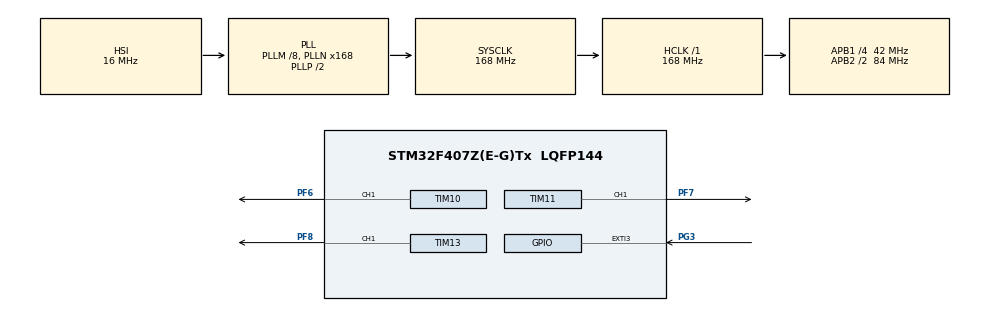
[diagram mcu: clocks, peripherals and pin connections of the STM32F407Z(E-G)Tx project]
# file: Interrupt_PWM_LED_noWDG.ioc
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Mcu.Family=STM32F4
Mcu.Name=STM32F407Z(E-G)Tx
Mcu.Package=LQFP144
NVIC.EXTI3_IRQn=true\:1\:0\:true\:false\:true\:true\:true\:true
NVIC.PriorityGroup=NVIC_PRIORITYGROUP_4
NVIC.TIM6_DAC_IRQn=true\:3\:0\:true\:false\:true\:true\:true\:true
PA13.Mode=Trace_Asynchronous_SW
PA13.Signal=SYS_JTMS-SWDIO
PA14.Mode=Trace_Asynchronous_SW
PA14.Signal=SYS_JTCK-SWCLK
PA5.Signal=S_TIM2_CH1_ETR
PB3.Mode=Trace_Asynchronous_SW
PB3.Signal=SYS_JTDO-SWO
PF6.Signal=S_TIM10_CH1
PF7.Signal=S_TIM11_CH1
PF8.Signal=S_TIM13_CH1
PG3.GPIO_ModeDefaultEXTI=GPIO_MODE_IT_RISING_FALLING
PG3.Signal=GPXTI3
ProjectManager.HeapSize=0x200
ProjectManager.StackSize=0x400
ProjectManager.TargetToolchain=MDK-ARM V5.32
RCC.48MHZClocksFreq_Value=84000000
RCC.AHBFreq_Value=168000000
RCC.APB1CLKDivider=RCC_HCLK_DIV4
RCC.APB1Freq_Value=42000000
RCC.APB1TimFreq_Value=84000000
RCC.APB2CLKDivider=RCC_HCLK_DIV2
RCC.APB2Freq_Value=84000000
RCC.APB2TimFreq_Value=168000000
RCC.CortexFreq_Value=168000000
RCC.HCLKFreq_Value=168000000
RCC.HSE_VALUE=25000000
RCC.HSI_VALUE=16000000
RCC.LSE_VALUE=32768
RCC.PLLM=8
RCC.PLLN=168
RCC.SYSCLKFreq_VALUE=168000000
RCC.SYSCLKSource=RCC_SYSCLKSOURCE_PLLCLK
RCC.VCOOutputFreq_Value=336000000
SH.S_TIM10_CH1.0=TIM10_CH1,PWM Generation1 CH1
SH.S_TIM11_CH1.0=TIM11_CH1,PWM Generation1 CH1
SH.S_TIM13_CH1.0=TIM13_CH1,PWM Generation1 CH1
SH.S_TIM2_CH1_ETR.0=TIM2_CH1
TIM10.Channel=TIM_CHANNEL_1
TIM10.Period=999
TIM10.Prescaler=167
TIM11.Channel=TIM_CHANNEL_1
TIM11.Period=999
TIM11.Prescaler=167
TIM13.Channel=TIM_CHANNEL_1
TIM13.Period=999
TIM13.Prescaler=83
TIM6.Period=9999
TIM6.Prescaler=8399
VP_TIM10_VS_ClockSourceINT.Mode=Enable_Timer
VP_TIM11_VS_ClockSourceINT.Mode=Enable_Timer
VP_TIM13_VS_ClockSourceINT.Mode=Enable_Timer
VP_TIM6_VS_ClockSourceINT.Mode=Enable_Timer
board=custom

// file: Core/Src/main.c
/* USER CODE BEGIN Header */
/**
  ******************************************************************************
  * @file           : main.c
  * @brief          : Main program body
  ******************************************************************************
  * @attention
  *
  * Copyright (c) 2026 STMicroelectronics.
  * All rights reserved.
  *
  * This software is licensed under terms that can be found in the LICENSE file
  * in the root directory of this software component.
  * If no LICENSE file comes with this software, it is provided AS-IS.
  *
  ******************************************************************************
  */
/* USER CODE END Header */
#include "main.h"

/* USER CODE BEGIN Includes */
#include <stdbool.h>
/* USER CODE END Includes */

/* USER CODE BEGIN PD */

/*
 * ========================= 颜色占空比表 =========================
 * 每行 = { R%, G%, B% }，百分比指该通道在最亮时的占空比。
 * 例如：黄色 = 红50% + 绿50%，白色 = 三通道各33%。
 *
 * LED 低电平点亮（低有效），PWM Mode1 + 极性HIGH 意味着：
 *   CNT < CCR → 引脚 HIGH → LED 灭
 *   CNT ≥ CCR → 引脚 LOW  → LED 亮
 * 所以 CCR = 0 → LED 全亮，CCR = 1000 → LED 全灭。
 * 亮度值 b (0~1000) 对应 CCR = 1000 - b。
 */
typedef struct {
    uint16_t r;    /* 红色通道亮度百分比 0-100 */
    uint16_t g;    /* 绿色通道亮度百分比 0-100 */
    uint16_t b;    /* 蓝色通道亮度百分比 0-100 */
} Color_t;

static const Color_t COLOR_TABLE[COLOR_COUNT] = {
    {100,   0,   0},   /* 红色 */
    { 50,  50,   0},   /* 黄色 */
    {  0, 100,   0},   /* 绿色 */
    {  0,  50,  50},   /* 青色 */
    {  0,   0, 100},   /* 蓝色 */
    { 50,   0,  50},   /* 品红 */
    { 33,  33,  33},   /* 白色 */
};

/* USER CODE END PD */

IWDG_HandleTypeDef hiwdg;
TIM_HandleTypeDef htim6;
TIM_HandleTypeDef htim10;
TIM_HandleTypeDef htim11;
TIM_HandleTypeDef htim13;

/* USER CODE BEGIN PV */
static volatile uint16_t dbg_ccr_r=0;

static volatile uint16_t dbg_ccr_g=0;

static volatile uint16_t dbg_ccr_b=0;
/* ===== 运行模式 ===== */
typedef enum {
    MODE_BREATHING = 0,   /* 模式1：七色呼吸灯 */
    MODE_SOLID     = 1,   /* 模式2：七色纯色循环 */
    MODE_RESET     = 2,   /* 复位模式：红灯快闪 */
} RunMode_t;

static volatile RunMode_t g_currentMode  = MODE_BREATHING;
static volatile bool      g_inResetMode  = false;   /* 是否处于复位模式 */

/* ===== TIM6 空闲计时（每秒 +1，达到阈值进入 Stop） ===== */
static volatile uint32_t  g_idleSeconds  = 0;
static volatile bool      g_enterStop    = false;   /* Stop 请求标志 */

/* ===== SW5 物理按键状态 ===== */
static volatile uint32_t  g_sw5PressTime   = 0;     /* 按下时刻 (tick) */
static volatile uint32_t  g_sw5ReleaseTime = 0;     /* 松开时刻 (tick) */
static volatile bool      g_sw5Pressed     = false; /* 当前是否处于按下 */

/* ===== 颜色 / 呼吸状态 ===== */
static uint8_t   g_colorIndex     = 0;               /* 当前颜色索引 0~6 */
static uint32_t  g_lastColorTick  = 0;               /* 上次颜色切换 tick */

/* ===== 电容按键 ===== */
static uint32_t  g_lastCapTouchTick = 0;             /* 上次触发 tick（消抖）*/

/* USER CODE END PV */

void SystemClock_Config(void);
static void MX_GPIO_Init(void);
static void MX_IWDG_Init(void);
static void MX_TIM6_Init(void);
static void MX_TIM10_Init(void);
static void MX_TIM11_Init(void);
static void MX_TIM13_Init(void);
/* USER CODE BEGIN PFP */

/* LED 控制 */
static void LED_SetRGB(uint16_t r, uint16_t g, uint16_t b);
static void LED_Off(void);
static void LED_UpdateBreathing(void);
static void LED_UpdateSolid(void);
static void LED_UpdateReset(void);

/* 电容按键 */
static bool CapTouch_Detect(void);

/* 电源管理 */
static void EnterStopMode(void);

/* 工具 */
static void ResetIdleCounter(void);

/* USER CODE END PFP */

int main(void)
{

  /* MCU Configuration--------------------------------------------------------*/

  /* Reset of all peripherals, Initializes the Flash interface and the Systick. */
  HAL_Init();

  /* Configure the system clock */
  SystemClock_Config();

  /* Initialize all configured peripherals */
  MX_GPIO_Init();
  MX_TIM6_Init();
  MX_TIM10_Init();
  MX_TIM11_Init();
  MX_TIM13_Init();
  MX_IWDG_Init();
  /* USER CODE BEGIN 2 */

  /* ---------- 检测 IWDG 复位标志 ----------
   * 若上次是 IWDG 超时导致的系统复位（Stop 模式下 LSI 不停，
   * IWDG 计数到 0 触发复位），则标记直接回到 Stop，避免 LED 闪烁。 */
  bool iwdg_wakeup = __HAL_RCC_GET_FLAG(RCC_FLAG_IWDGRST);
  __HAL_RCC_CLEAR_RESET_FLAGS();

  /* ---------- 启动三路 PWM 输出 ----------
   * 初始 CCR = 0（CubeMX 默认 Pulse = 0），对应引脚持续 LOW → LED 全亮。
   * 我们先调用 LED_Off() 把 CCR 设为 1000，让 LED 初始为灭。 */
  HAL_TIM_PWM_Start(&htim10, TIM_CHANNEL_1);   /* PF6 红 */
  HAL_TIM_PWM_Start(&htim11, TIM_CHANNEL_1);   /* PF7 绿 */
  HAL_TIM_PWM_Start(&htim13, TIM_CHANNEL_1);   /* PF8 蓝 */
  LED_Off();

  /* ---------- 启动 TIM6 中断（1s 周期）---------- */
  HAL_TIM_Base_Start_IT(&htim6);

  /* ---------- 使能 EXTI3 事件线 (EMR) ----------
   * CubeMX 只配置了 IMR（中断线），这里手动补上 EMR，
   * 让 SW5 在 Stop 模式下也可通过事件唤醒 CPU (WFE)。 */
  EXTI->EMR |= EXTI_EMR_MR3;

  /* 记录起始 tick，用于呼吸 / 纯色的时间基准 */
  g_lastColorTick = HAL_GetTick();

  /* IWDG 复位唤醒 → 直接回 Stop，用户无感知 */
  if (iwdg_wakeup)
  {
    g_enterStop = true;
  }

  /* USER CODE END 2 */

  /* Infinite loop */
  while (1)
  {

    /* USER CODE BEGIN 3 */

    /* ========== 1. 检查 Stop 模式请求 ========== */
    if (g_enterStop)
    {
      EnterStopMode();
      continue;   /* 唤醒后从循环头重新开始 */
    }

    /* ========== 2. SW5 长按检测 ==========
     * ISR 只记录时间戳，这里在主循环里判断按压持续时间。
     * 松开后 (g_sw5Pressed == false) 且 ReleaseTime > PressTime → 有效释放。 */
    if (!g_sw5Pressed && g_sw5ReleaseTime > g_sw5PressTime)
    {
      uint32_t duration = g_sw5ReleaseTime - g_sw5PressTime;
      g_sw5ReleaseTime = 0;   /* 消费掉这次事件，防止重复处理 */

      if (duration >= LONG_PRESS_MS)
      {
        /* 长按 >= 5s → 切换复位模式 / 普通模式 */
        g_inResetMode = !g_inResetMode;
        if (g_inResetMode)
        {
          g_currentMode = MODE_RESET;
        }
        else
        {
          g_currentMode = MODE_BREATHING;
          g_colorIndex  = 0;
          g_lastColorTick = HAL_GetTick();
        }
      }
    }

    /* ========== 3. 电容按键检测 → 切换呼吸 / 纯色 ==========
     * 只在普通模式下响应（复位模式忽略触摸） */
    if (!g_inResetMode)
    {
      if (CapTouch_Detect())
      {
        uint32_t now = HAL_GetTick();
        if (now - g_lastCapTouchTick >= CAP_TOUCH_DEBOUNCE)
        {
          g_lastCapTouchTick = now;
          ResetIdleCounter();

          /* 呼吸 ↔ 纯色 互相切换 */
          if (g_currentMode == MODE_BREATHING)
            g_currentMode = MODE_SOLID;
          else
            g_currentMode = MODE_BREATHING;

          g_colorIndex    = 0;
          g_lastColorTick = HAL_GetTick();
        }
      }
    }

    /* ========== 4. 根据当前模式刷新 LED ========== */
    switch (g_currentMode)
    {
      case MODE_BREATHING:
        LED_UpdateBreathing();
        break;
      case MODE_SOLID:
        LED_UpdateSolid();
        break;
      case MODE_RESET:
        LED_UpdateReset();
        break;
    }
    dbg_ccr_r = TIM10->CCR1;//给Debugger用的 观察LED的PWM
    dbg_ccr_g = TIM11->CCR1;
    dbg_ccr_b = TIM13->CCR1;

    /* ========== 5. 喂狗 ========== */
    HAL_IWDG_Refresh(&hiwdg);
  }
  /* USER CODE END 3 */
}

void SystemClock_Config(void)
{
  RCC_OscInitTypeDef RCC_OscInitStruct = {0};
  RCC_ClkInitTypeDef RCC_ClkInitStruct = {0};

  /** Configure the main internal regulator output voltage
  */
  __HAL_RCC_PWR_CLK_ENABLE();
  __HAL_PWR_VOLTAGESCALING_CONFIG(PWR_REGULATOR_VOLTAGE_SCALE1);

  /** Initializes the RCC Oscillators according to the specified parameters
  * in the RCC_OscInitTypeDef structure.
  */
  RCC_OscInitStruct.OscillatorType = RCC_OSCILLATORTYPE_HSI|RCC_OSCILLATORTYPE_LSI;
  RCC_OscInitStruct.HSIState = RCC_HSI_ON;
  RCC_OscInitStruct.HSICalibrationValue = RCC_HSICALIBRATION_DEFAULT;
  RCC_OscInitStruct.LSIState = RCC_LSI_ON;
  RCC_OscInitStruct.PLL.PLLState = RCC_PLL_ON;
  RCC_OscInitStruct.PLL.PLLSource = RCC_PLLSOURCE_HSI;
  RCC_OscInitStruct.PLL.PLLM = 8;
  RCC_OscInitStruct.PLL.PLLN = 168;
  RCC_OscInitStruct.PLL.PLLP = RCC_PLLP_DIV2;
  RCC_OscInitStruct.PLL.PLLQ = 4;
  if (HAL_RCC_OscConfig(&RCC_OscInitStruct) != HAL_OK)
  {
    Error_Handler();
  }

  /** Initializes the CPU, AHB and APB buses clocks
  */
  RCC_ClkInitStruct.ClockType = RCC_CLOCKTYPE_HCLK|RCC_CLOCKTYPE_SYSCLK
                              |RCC_CLOCKTYPE_PCLK1|RCC_CLOCKTYPE_PCLK2;
  RCC_ClkInitStruct.SYSCLKSource = RCC_SYSCLKSOURCE_PLLCLK;
  RCC_ClkInitStruct.AHBCLKDivider = RCC_SYSCLK_DIV1;
  RCC_ClkInitStruct.APB1CLKDivider = RCC_HCLK_DIV4;
  RCC_ClkInitStruct.APB2CLKDivider = RCC_HCLK_DIV2;

  if (HAL_RCC_ClockConfig(&RCC_ClkInitStruct, FLASH_LATENCY_5) != HAL_OK)
  {
    Error_Handler();
  }
}

static void MX_IWDG_Init(void)
{
  hiwdg.Instance = IWDG;
  hiwdg.Init.Prescaler = IWDG_PRESCALER_DIV;   /* 64 分频 */
  hiwdg.Init.Reload = IWDG_RELOAD_VALUE;       /* 4095    */
  if (HAL_IWDG_Init(&hiwdg) != HAL_OK)
  {
    Error_Handler();
  }
}

static void MX_TIM6_Init(void)
{

  TIM_MasterConfigTypeDef sMasterConfig = {0};

  htim6.Instance = TIM6;
  htim6.Init.Prescaler = 8399;
  htim6.Init.CounterMode = TIM_COUNTERMODE_UP;
  htim6.Init.Period = 9999;
  htim6.Init.AutoReloadPreload = TIM_AUTORELOAD_PRELOAD_DISABLE;
  if (HAL_TIM_Base_Init(&htim6) != HAL_OK)
  {
    Error_Handler();
  }
  sMasterConfig.MasterOutputTrigger = TIM_TRGO_RESET;
  sMasterConfig.MasterSlaveMode = TIM_MASTERSLAVEMODE_DISABLE;
  if (HAL_TIMEx_MasterConfigSynchronization(&htim6, &sMasterConfig) != HAL_OK)
  {
    Error_Handler();
  }

}

static void MX_TIM10_Init(void)
{

  TIM_OC_InitTypeDef sConfigOC = {0};

  htim10.Instance = TIM10;
  htim10.Init.Prescaler = 167;
  htim10.Init.CounterMode = TIM_COUNTERMODE_UP;
  htim10.Init.Period = 999;
  htim10.Init.ClockDivision = TIM_CLOCKDIVISION_DIV1;
  htim10.Init.AutoReloadPreload = TIM_AUTORELOAD_PRELOAD_DISABLE;
  if (HAL_TIM_Base_Init(&htim10) != HAL_OK)
  {
    Error_Handler();
  }
  if (HAL_TIM_PWM_Init(&htim10) != HAL_OK)
  {
    Error_Handler();
  }
  sConfigOC.OCMode = TIM_OCMODE_PWM1;
  sConfigOC.Pulse = 0;
  sConfigOC.OCPolarity = TIM_OCPOLARITY_HIGH;
  sConfigOC.OCFastMode = TIM_OCFAST_DISABLE;
  if (HAL_TIM_PWM_ConfigChannel(&htim10, &sConfigOC, TIM_CHANNEL_1) != HAL_OK)
  {
    Error_Handler();
  }
  HAL_TIM_MspPostInit(&htim10);

}

static void MX_TIM11_Init(void)
{

  TIM_OC_InitTypeDef sConfigOC = {0};

  htim11.Instance = TIM11;
  htim11.Init.Prescaler = 167;
  htim11.Init.CounterMode = TIM_COUNTERMODE_UP;
  htim11.Init.Period = 999;
  htim11.Init.ClockDivision = TIM_CLOCKDIVISION_DIV1;
  htim11.Init.AutoReloadPreload = TIM_AUTORELOAD_PRELOAD_DISABLE;
  if (HAL_TIM_Base_Init(&htim11) != HAL_OK)
  {
    Error_Handler();
  }
  if (HAL_TIM_PWM_Init(&htim11) != HAL_OK)
  {
    Error_Handler();
  }
  sConfigOC.OCMode = TIM_OCMODE_PWM1;
  sConfigOC.Pulse = 0;
  sConfigOC.OCPolarity = TIM_OCPOLARITY_HIGH;
  sConfigOC.OCFastMode = TIM_OCFAST_DISABLE;
  if (HAL_TIM_PWM_ConfigChannel(&htim11, &sConfigOC, TIM_CHANNEL_1) != HAL_OK)
  {
    Error_Handler();
  }
  HAL_TIM_MspPostInit(&htim11);

}

static void MX_TIM13_Init(void)
{

  TIM_OC_InitTypeDef sConfigOC = {0};

  htim13.Instance = TIM13;
  htim13.Init.Prescaler = 83;
  htim13.Init.CounterMode = TIM_COUNTERMODE_UP;
  htim13.Init.Period = 999;
  htim13.Init.ClockDivision = TIM_CLOCKDIVISION_DIV1;
  htim13.Init.AutoReloadPreload = TIM_AUTORELOAD_PRELOAD_DISABLE;
  if (HAL_TIM_Base_Init(&htim13) != HAL_OK)
  {
    Error_Handler();
  }
  if (HAL_TIM_PWM_Init(&htim13) != HAL_OK)
  {
    Error_Handler();
  }
  sConfigOC.OCMode = TIM_OCMODE_PWM1;
  sConfigOC.Pulse = 0;
  sConfigOC.OCPolarity = TIM_OCPOLARITY_HIGH;
  sConfigOC.OCFastMode = TIM_OCFAST_DISABLE;
  if (HAL_TIM_PWM_ConfigChannel(&htim13, &sConfigOC, TIM_CHANNEL_1) != HAL_OK)
  {
    Error_Handler();
  }
  HAL_TIM_MspPostInit(&htim13);

}

static void MX_GPIO_Init(void)
{
  GPIO_InitTypeDef GPIO_InitStruct = {0};

  /* GPIO Ports Clock Enable */
  __HAL_RCC_GPIOF_CLK_ENABLE();
  __HAL_RCC_GPIOA_CLK_ENABLE();
  __HAL_RCC_GPIOG_CLK_ENABLE();
  __HAL_RCC_GPIOB_CLK_ENABLE();

  /*Configure GPIO pin : PA5 */
  GPIO_InitStruct.Pin = GPIO_PIN_5;
  GPIO_InitStruct.Mode = GPIO_MODE_AF_PP;
  GPIO_InitStruct.Pull = GPIO_NOPULL;
  GPIO_InitStruct.Speed = GPIO_SPEED_FREQ_LOW;
  GPIO_InitStruct.Alternate = GPIO_AF1_TIM2;
  HAL_GPIO_Init(GPIOA, &GPIO_InitStruct);

  /*Configure GPIO pin : PG3 */
  GPIO_InitStruct.Pin = GPIO_PIN_3;
  GPIO_InitStruct.Mode = GPIO_MODE_IT_RISING_FALLING;
  GPIO_InitStruct.Pull = GPIO_NOPULL;
  HAL_GPIO_Init(GPIOG, &GPIO_InitStruct);

  /* EXTI interrupt init*/
  HAL_NVIC_SetPriority(EXTI3_IRQn, 1, 0);
  HAL_NVIC_EnableIRQ(EXTI3_IRQn);

}

/* USER CODE BEGIN 4 */

/* =====================================================================
 *  LED 控制函数
 * =====================================================================
 * 硬件约束（低有效 + PWM Mode1 + 极性HIGH）：
 *   CCR = 0    → 引脚始终 LOW  → LED 全亮 (100%)
 *   CCR = 1000 → 引脚始终 HIGH → LED 全灭 (0%)
 *   亮度 b (0~1000) 对应 CCR = PWM_RESOLUTION - b
 * ===================================================================== */

/**
 * @brief  设置 RGB 三通道亮度
 * @param  r  红色亮度 0~1000 (0=灭, 1000=最亮)
 * @param  g  绿色亮度 0~1000
 * @param  b  蓝色亮度 0~1000
 */
static void LED_SetRGB(uint16_t r, uint16_t g, uint16_t b)
{
  __HAL_TIM_SET_COMPARE(&htim10, TIM_CHANNEL_1, PWM_RESOLUTION - r); /* PF6 红 */
  __HAL_TIM_SET_COMPARE(&htim11, TIM_CHANNEL_1, PWM_RESOLUTION - g); /* PF7 绿 */
  __HAL_TIM_SET_COMPARE(&htim13, TIM_CHANNEL_1, PWM_RESOLUTION - b); /* PF8 蓝 */
}

/** @brief 关闭所有 LED */
static void LED_Off(void)
{
  LED_SetRGB(0, 0, 0);
}

/**
 * @brief  模式1 -- 七色呼吸灯
 *
 * 每个颜色的呼吸周期 = BREATH_PERIOD_MS (2000ms)：
 *   前半段 0~999ms  ：亮度从 0 线性递增到 1000（渐亮）
 *   后半段 1000~1999ms：亮度从 1000 线性递减到 0（渐灭）
 *
 * 用 HAL_GetTick() 计算经过时间，得到亮度系数 (0~1000)，
 * 再乘以颜色表中该通道的百分比，得到最终 PWM 值。
 */
static void LED_UpdateBreathing(void)
{
  uint32_t now     = HAL_GetTick();
  uint32_t elapsed = now - g_lastColorTick;

  /* 一个颜色的呼吸周期结束 → 切换下一色 */
  if (elapsed >= BREATH_PERIOD_MS)
  {
    g_colorIndex    = (g_colorIndex + 1) % COLOR_COUNT;
    g_lastColorTick = now;
    elapsed = 0;
  }

  /* 计算亮度系数 brightness ∈ [0, 1000]
   *   前半周期：线性 0 → 1000
   *   后半周期：线性 1000 → 0 */
  uint32_t half = BREATH_PERIOD_MS / 2;
  uint16_t brightness;
  if (elapsed < half)
    brightness = (uint16_t)(elapsed * PWM_RESOLUTION / half);
  else
    brightness = (uint16_t)((BREATH_PERIOD_MS - elapsed) * PWM_RESOLUTION / half);

  /* 颜色百分比 × 亮度系数 → 通道值 0~1000 */
  const Color_t *c = &COLOR_TABLE[g_colorIndex];
  uint16_t r = (uint16_t)((uint32_t)c->r * brightness / 100);
  uint16_t g = (uint16_t)((uint32_t)c->g * brightness / 100);
  uint16_t b = (uint16_t)((uint32_t)c->b * brightness / 100);

  LED_SetRGB(r, g, b);
}

/**
 * @brief  模式2 -- 七色纯色循环
 *
 * 七种颜色以最大亮度显示，每 SOLID_PERIOD_MS 切换下一色。
 */
static void LED_UpdateSolid(void)
{
  uint32_t now = HAL_GetTick();
  if (now - g_lastColorTick >= SOLID_PERIOD_MS)
  {
    g_colorIndex    = (g_colorIndex + 1) % COLOR_COUNT;
    g_lastColorTick = now;
  }

  const Color_t *c = &COLOR_TABLE[g_colorIndex];
  uint16_t r = (uint16_t)((uint32_t)c->r * PWM_RESOLUTION / 100);
  uint16_t g = (uint16_t)((uint32_t)c->g * PWM_RESOLUTION / 100);
  uint16_t b = (uint16_t)((uint32_t)c->b * PWM_RESOLUTION / 100);

  LED_SetRGB(r, g, b);
}

/**
 * @brief  复位模式 -- 红灯以 RESET_BLINK_MS 为半周期快闪
 */
static void LED_UpdateReset(void)
{
  uint32_t phase = (HAL_GetTick() / RESET_BLINK_MS) % 2;
  if (phase == 0)
    LED_SetRGB(PWM_RESOLUTION, 0, 0);  /* 红灯全亮 */
  else
    LED_Off();                          /* 全灭     */
}

/* =====================================================================
 *  电容按键检测
 * =====================================================================
 * PA5 连接电容触摸焊盘，等效为一个对地 RC 网络。
 * 检测流程：
 *   1. PA5 配置为推挽输出，拉低 → 给焊盘电容放电
 *   2. PA5 切换为带内部上拉的输入 → 电容通过上拉电阻开始充电
 *   3. 循环读取引脚电平，计数从 LOW 变 HIGH 所需的循环次数
 *   4. 手指按下 → 并联人体电容 → RC 时间常数增大 → 计数变大
 *   5. 计数 >= CAP_TOUCH_THRESHOLD → 判定为按下
 *
 * 注意：CubeMX 把 PA5 配成了 TIM2_CH1 AF，这里每次检测时
 *       重新配置为 GPIO，不影响功能。阈值需根据实际硬件校准。
 * ===================================================================== */
static bool CapTouch_Detect(void)
{
  GPIO_InitTypeDef gpio = {0};
  uint16_t count = 0;

  /* ---- 第一步：推挽输出 LOW → 放电 ---- */
  gpio.Pin   = GPIO_PIN_5;
  gpio.Mode  = GPIO_MODE_OUTPUT_PP;
  gpio.Pull  = GPIO_NOPULL;
  gpio.Speed = GPIO_SPEED_FREQ_HIGH;
  HAL_GPIO_Init(GPIOA, &gpio);
  HAL_GPIO_WritePin(GPIOA, GPIO_PIN_5, GPIO_PIN_RESET);

  /* 等待放电完成（约几百 ns，循环耗时已足够） */
  for (volatile uint32_t i = 0; i < 200; i++) { __NOP(); }

  /* ---- 第二步：切换为上拉输入 → 开始充电 ---- */
  gpio.Mode = GPIO_MODE_INPUT;
  gpio.Pull = GPIO_PULLUP;
  HAL_GPIO_Init(GPIOA, &gpio);

  /* ---- 第三步：计数直到引脚变 HIGH ---- */
  while (HAL_GPIO_ReadPin(GPIOA, GPIO_PIN_5) == GPIO_PIN_RESET)
  {
    count++;
    if (count >= CAP_CHARGE_TIMEOUT)
      break;                          /* 超时保护 */
  }

  return (count >= CAP_TOUCH_THRESHOLD);
}

/* =====================================================================
 *  电源管理 —— 进入 / 退出 Stop 模式
 * ===================================================================== */

/**
 * @brief  进入 Stop 模式
 *
 * 1. 关闭 LED + 停止 PWM / TIM6
 * 2. HAL_SuspendTick() —— 防止 HSI 低速下 tick 计数失真
 * 3. HAL_PWR_EnterSTOPMode(WFE) —— CPU 暂停于此
 *          ↓  SW5 按下 → EXTI3 事件唤醒
 * 4. SystemClock_Config() —— 恢复 PLL → 168MHz
 * 5. HAL_ResumeTick() + 重新启动外设
 */
static void EnterStopMode(void)
{
  /* 关灯 + 停外设 */
  LED_Off();
  HAL_TIM_PWM_Stop(&htim10, TIM_CHANNEL_1);
  HAL_TIM_PWM_Stop(&htim11, TIM_CHANNEL_1);
  HAL_TIM_PWM_Stop(&htim13, TIM_CHANNEL_1);
  HAL_TIM_Base_Stop_IT(&htim6);

  /* 暂停 SysTick，防止在 HSI 16MHz 下产生错误 tick */
  HAL_SuspendTick();

  /* ====== 进入 Stop 模式 (低功耗稳压器 + WFE) ======
   * CPU 在此行暂停，直到 EXTI3 事件把它唤醒 */
  HAL_PWR_EnterSTOPMode(PWR_LOWPOWERREGULATOR_ON, PWR_STOPENTRY_WFE);

  /* ====== 唤醒后从这里继续 ======
   * Stop 期间 HSE/PLL 被硬件关闭，芯片回退到 HSI 16MHz，
   * 必须先恢复时钟树，否则 USART/TIM/SysTick 频率全乱。 */
  SystemClock_Config();
  HAL_ResumeTick();

  /* 重新启动 PWM 和 TIM6 */
  HAL_TIM_PWM_Start(&htim10, TIM_CHANNEL_1);
  HAL_TIM_PWM_Start(&htim11, TIM_CHANNEL_1);
  HAL_TIM_PWM_Start(&htim13, TIM_CHANNEL_1);
  HAL_TIM_Base_Start_IT(&htim6);

  /* 唤醒后立即喂狗，防止刚恢复就超时 */
  HAL_IWDG_Refresh(&hiwdg);

  /* 重置状态 */
  g_idleSeconds   = 0;
  g_enterStop     = false;
  g_lastColorTick = HAL_GetTick();
}

/** @brief 重置空闲计时器（任何用户交互时调用） */
static void ResetIdleCounter(void)
{
  g_idleSeconds = 0;
}

/* =====================================================================
 *  HAL 回调函数
 * =====================================================================
 * HAL 库对 TIM_PeriodElapsedCallback 和 GPIO_EXTI_Callback 使用 __weak
 * 默认空实现。我们在这里重写它们，链接器会自动选择非 weak 版本。
 * 中断处理流程：
 *   EXTI3_IRQHandler → HAL_GPIO_EXTI_IRQHandler → HAL_GPIO_EXTI_Callback
 *   TIM6_DAC_IRQHandler → HAL_TIM_IRQHandler → HAL_TIM_PeriodElapsedCallback
 * ===================================================================== */

/**
 * @brief  TIM 更新事件回调（TIM6 每秒触发一次）
 *
 * 累加空闲秒数。达到 AUTO_SLEEP_MINUTES 后置标志，
 * 由主循环负责执行 Stop 进入流程（ISR 中不做复杂操作）。
 */
void HAL_TIM_PeriodElapsedCallback(TIM_HandleTypeDef *htim)
{
  if (htim->Instance == TIM6)
  {
    g_idleSeconds++;
    if (g_idleSeconds >= (uint32_t)AUTO_SLEEP_MINUTES * 60)
    {
      g_enterStop = true;
    }
  }
}

/**
 * @brief  EXTI 外部中断回调（SW5 物理按键 PG3）
 *
 * CubeMX 配置为双边沿触发：按下（下降沿）和松开（上升沿）都会进入。
 * ISR 只记录时间戳和当前按键状态（快进快出），长按判定留给主循环。
 */
void HAL_GPIO_EXTI_Callback(uint16_t GPIO_Pin)
{
  if (GPIO_Pin == GPIO_PIN_3)
  {
    uint32_t now = HAL_GetTick();

    if (HAL_GPIO_ReadPin(GPIOG, GPIO_PIN_3) == GPIO_PIN_RESET)
    {
      /* 下降沿 → 按键按下 */
      if (now - g_sw5PressTime >= DEBOUNCE_MS)    /* 消抖 */
      {
        g_sw5PressTime = now;
        g_sw5Pressed   = true;
      }
    }
    else
    {
      /* 上升沿 → 按键松开 */
      if (now - g_sw5ReleaseTime >= DEBOUNCE_MS)  /* 消抖 */
      {
        g_sw5ReleaseTime = now;
        g_sw5Pressed     = false;
      }
    }

    /* 有按键操作 → 重置空闲计时 */
    ResetIdleCounter();
  }
}

/* USER CODE END 4 */

void Error_Handler(void)
{
  __disable_irq();
  while (1)
  {
  }
}
